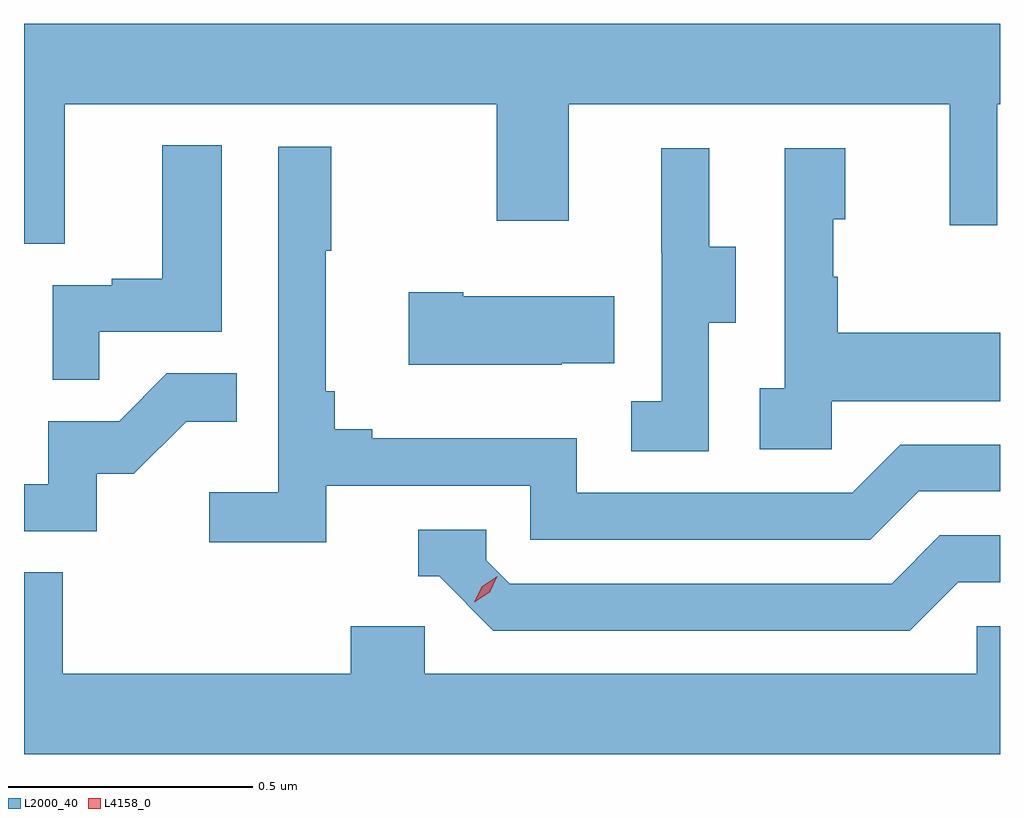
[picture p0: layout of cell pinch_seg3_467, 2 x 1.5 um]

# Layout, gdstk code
import gdstk
lib = gdstk.Library(unit=1e-6, precision=1e-09)
def P(c, l, *ps):  # polygons
    for p in ps: c.add(gdstk.Polygon(p, *l))
L2000_40 = (2000, 40)
L4158_0 = (4158, 0)

pinch_seg3_467 = lib.new_cell('pinch_seg3_467')
P(pinch_seg3_467, L2000_40, [(912.109,669.994),(912.193,669.994),(912.193,670.28),(913.078,670.28),(913.078,670.041),(913.225,670.041),(913.225,670.28),(914.006,670.28),(914.006,670.032),(914.103,670.032),(914.103,670.28),(914.109,670.28),(914.109,670.444),(912.109,670.444)],
  [(912.263,669.813),(912.514,669.813),(912.514,670.195),(912.392,670.195),(912.392,669.922),(912.289,669.922),(912.289,669.909),(912.168,669.909),(912.168,669.715),(912.263,669.715)],
  [(912.728,669.498),(913.146,669.498),(913.146,669.387),(913.843,669.387),(913.942,669.486),(914.109,669.486),(914.109,669.582),(913.905,669.582),(913.806,669.483),(913.242,669.483),(913.242,669.595),(912.823,669.595),(912.823,669.614),(912.746,669.614),(912.746,669.691),(912.727,669.691),(912.727,669.979),(912.739,669.979),(912.739,670.192),(912.63,670.192),(912.63,669.484),(912.489,669.484),(912.489,669.382),(912.728,669.382)],
  [(913.764,669.671),(914.109,669.671),(914.109,669.811),(913.777,669.811),(913.777,669.926),(913.767,669.926),(913.767,670.044),(913.792,670.044),(913.792,670.189),(913.668,670.189),(913.668,669.698),(913.617,669.698),(913.617,669.573),(913.764,669.573)],
  [(913.512,669.832),(913.567,669.832),(913.567,669.987),(913.513,669.987),(913.513,670.189),(913.415,670.189),(913.415,669.975),(913.416,669.975),(913.416,669.671),(913.353,669.671),(913.353,669.568),(913.512,669.568)],
  [(913.211,669.749),(913.319,669.749),(913.319,669.886),(913.009,669.886),(913.009,669.894),(912.897,669.894),(912.897,669.746),(913.211,669.746)],
  [(912.258,669.522),(912.334,669.522),(912.441,669.629),(912.545,669.629),(912.545,669.728),(912.402,669.728),(912.304,669.63),(912.159,669.63),(912.159,669.501),(912.109,669.501),(912.109,669.405),(912.258,669.405)],
  [(914.023,669.3),(914.109,669.3),(914.109,669.396),(913.986,669.396),(913.887,669.297),(913.104,669.297),(913.056,669.345),(913.056,669.408),(912.917,669.408),(912.917,669.312),(912.96,669.312),(913.071,669.201),(913.924,669.201)],
  [(914.109,669.21),(914.061,669.21),(914.061,669.112),(912.93,669.112),(912.93,669.21),(912.779,669.21),(912.779,669.112),(912.188,669.112),(912.188,669.32),(912.109,669.32),(912.109,668.948),(914.109,668.948)])
P(pinch_seg3_467, L4158_0, [(913.032,669.259),(913.032,669.26),(913.048,669.292),(913.079,669.312),(913.079,669.312),(913.079,669.312),(913.063,669.279),(913.032,669.259)])

lib.write_gds('pinch_seg3_467.gds')
